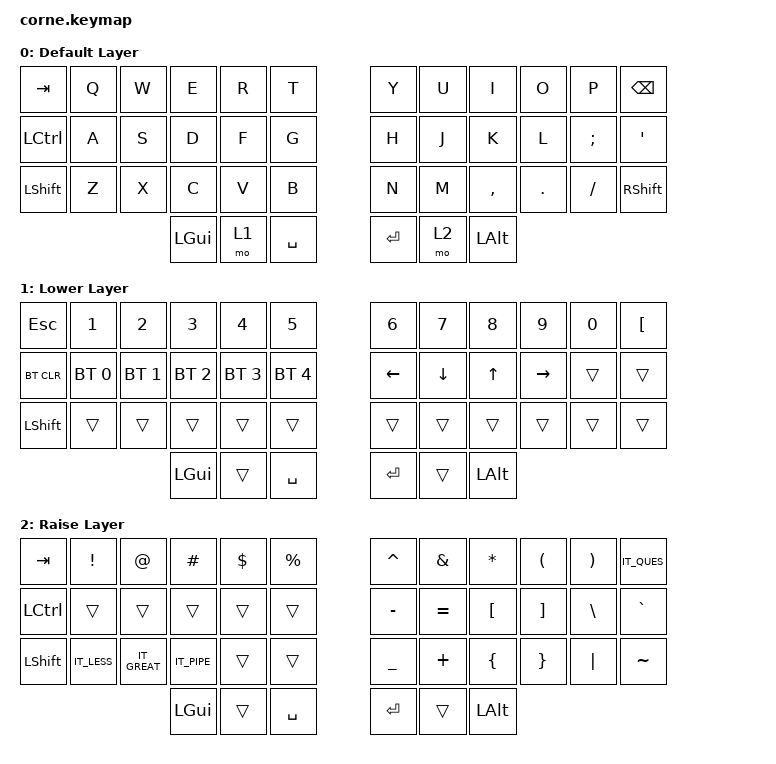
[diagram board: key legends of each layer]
/*
 * Copyright (c) 2020 The ZMK Contributors
 *
 * SPDX-License-Identifier: MIT
 */

#include <behaviors.dtsi>
#include <dt-bindings/zmk/keys.h>
#include <dt-bindings/zmk/bt.h>

#include "keymap_italian.h"

/ {
        keymap {
                compatible = "zmk,keymap";

                default_layer {
                        display-name = "Default Layer";
// -----------------------------------------------------------------------------------------
// |  TAB |  Q  |  W  |  E  |  R  |  T  |   |  Y  |  U   |  I  |  O  |  P  | BSPC |
// | CTRL |  A  |  S  |  D  |  F  |  G  |   |  H  |  J   |  K  |  L  |  ;  |  '   |
// | SHFT |  Z  |  X  |  C  |  V  |  B  |   |  N  |  M   |  ,  |  .  |  /  | ESC  |
//                    | GUI | LWR | SPC |   | ENT | RSE  | LALT |
                        bindings = <
   &kp TAB   &kp Q &kp W &kp E &kp R &kp T   &kp Y &kp U  &kp I     &kp O   &kp P    &kp BSPC
   &kp LCTRL &kp A &kp S &kp D &kp F &kp G   &kp H &kp J  &kp K     &kp L   &kp SEMI &kp SQT
   &kp LSHFT &kp Z &kp X &kp C &kp V &kp B   &kp N &kp M  &kp COMMA &kp DOT &kp FSLH &kp RSHFT
                  &kp LGUI &mo 1 &kp SPACE   &kp RET &mo 2 &kp LALT
                        >;
                };
                lower_layer {
                        display-name = "Lower Layer";
// -----------------------------------------------------------------------------------------
// |  TAB |  1  |  2  |  3  |  4  |  5  |   |  6  |  7  |  8  |  9  |  0  | BSPC |
// | BTCLR| BT1 | BT2 | BT3 | BT4 | BT5 |   | LFT | DWN |  UP | RGT |     |      |
// | SHFT |     |     |     |     |     |   |     |     |     |     |     |      |
//                    | GUI |     | SPC |   | ENT |     | LALT |
                        bindings = <
   &kp ESC    &kp N1       &kp N2       &kp N3       &kp N4       &kp N5         &kp N6   &kp N7   &kp N8 &kp N9    &kp N0 &kp LBKT
   &bt BT_CLR &bt BT_SEL 0 &bt BT_SEL 1 &bt BT_SEL 2 &bt BT_SEL 3 &bt BT_SEL 4   &kp LEFT &kp DOWN &kp UP &kp RIGHT &trans &trans
   &kp LSHFT  &trans       &trans       &trans       &trans       &trans         &trans   &trans   &trans &trans    &trans &trans
                                    &kp LGUI     &trans       &kp SPACE      &kp RET  &trans   &kp LALT
                        >;
                };

                raise_layer {
                        display-name = "Raise Layer";
// -----------------------------------------------------------------------------------------
// |  TAB |  !  |  @  |  #  |  $  |  %  |   |  ^  |  &  |  *  |  (  |  )  | BSPC |
// | CTRL |     |     |     |     |     |   |  -  |  =  |  [  |  ]  |  \  |  `   |
// | SHFT |     |     |     |     |     |   |  _  |  +  |  {  |  }  | "|" |  ~   |
//                    | GUI |     | SPC |   | ENT |     | ALT |
                        bindings = <
   &kp  TAB  &kp EXCL &kp AT &kp HASH &kp DLLR &kp PRCNT   &kp CARET &kp AMPS  &kp ASTRK &kp LPAR &kp RPAR &kp IT_QUES
   &kp LCTRL &trans   &trans &trans   &trans   &trans      &kp MINUS &kp EQUAL &kp LBKT  &kp RBKT &kp BSLH &kp GRAVE
   &kp LSHFT &kp IT_LESS   &kp IT_GREAT &kp IT_PIPE   &trans   &trans      &kp UNDER &kp PLUS  &kp LBRC  &kp RBRC &kp PIPE &kp TILDE
                             &kp LGUI &trans   &kp SPACE   &kp RET   &trans    &kp LALT
                        >;
                };
        };
};
